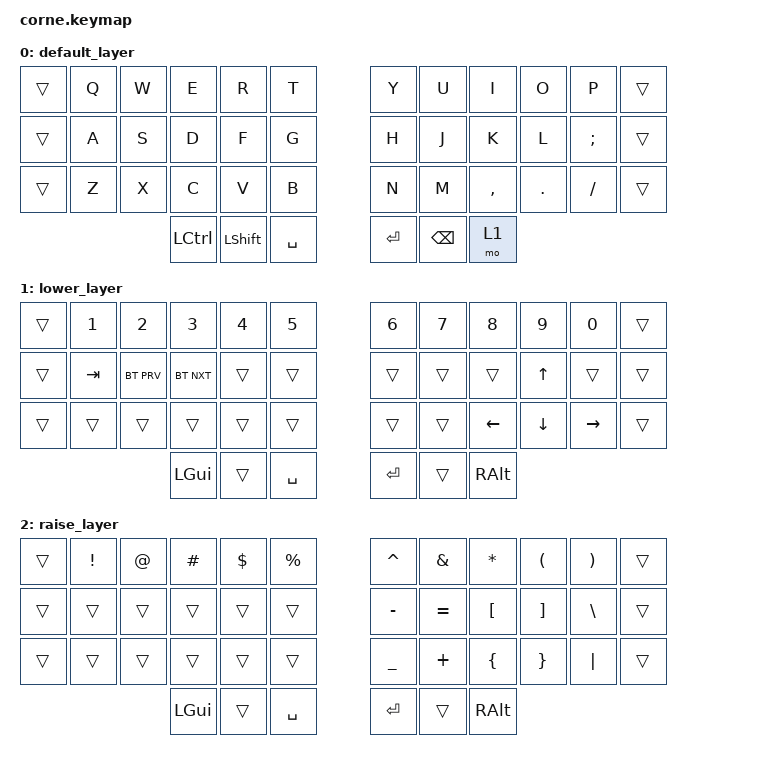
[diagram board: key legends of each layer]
/*
 * Copyright (c) 2020 The ZMK Contributors
 *
 * SPDX-License-Identifier: MIT
 */

#include <behaviors.dtsi>
#include <dt-bindings/zmk/keys.h>
#include <dt-bindings/zmk/bt.h>

/ {
        keymap {
                compatible = "zmk,keymap";

                default_layer {
// -----------------------------------------------------------------------------------------
// |      |  Q  |  W  |  E  |  R  |  T  |   |  Y  |  U   |  I  |  O  |  P  |      |
// |      |  A  |  S  |  D  |  F  |  G  |   |  H  |  J   |  K  |  L  |  ;  |      |
// |      |  Z  |  X  |  C  |  V  |  B  |   |  N  |  M   |  ,  |  .  |  /  |      |
//                    | CTRL | SHFT | SPC |   | ENT | BSPC | LWR |
                        bindings = <
   &trans &kp Q &kp W &kp E &kp R &kp T           &kp Y &kp U  &kp I     &kp O   &kp P    &trans
   &trans &kp A &kp S &kp D &kp F &kp G           &kp H &kp J  &kp K     &kp L   &kp SEMI &trans
   &trans &kp Z &kp X &kp C &kp V &kp B           &kp N &kp M  &kp COMMA &kp DOT &kp FSLH &trans
          &kp LCTRL &kp LSHFT &kp SPACE           &kp RET &kp BSPC &mo 1
                        >;
                };
                lower_layer {
// -----------------------------------------------------------------------------------------
// |      |  1  |  2  |  3  |  4  |  5  |   |  6  |  7  |  8  |  9  |  0  |      |
// |      | TAB | BTP | BTN |     |     |   |     |     |     | UP  |     |      |
// |      |     |     |     |     |     |   |     |     | LFT | DWN | RGT |      |
//                    | GUI |     | SPC |   | ENT |     | ALT |
                        bindings = <
            &trans &kp N1 &kp N2 &kp N3 &kp N4 &kp N5           &kp N6 &kp N7 &kp N8 &kp N9 &kp N0 &trans
   &trans &kp TAB &bt BT_PRV &bt BT_NXT &trans &trans           &trans &trans &trans &kp UP &trans &trans
            &trans &trans &trans &trans &trans &trans           &trans &trans &kp LEFT &kp DOWN &kp RIGHT &trans
                            &kp LGUI &trans &kp SPACE           &kp RET &trans &kp RALT
                        >;
                };

                raise_layer {
// -----------------------------------------------------------------------------------------
// |      |  !  |  @  |  #  |  $  |  %  |   |  ^  |  &  |  *  |  (  |  )  |      |
// |      |     |     |     |     |     |   |  -  |  =  |  [  |  ]  |  \  |      |
// |      |     |     |     |     |     |   |  _  |  +  |  {  |  }  | "|" |      |
//                    | GUI |     | SPC |   | ENT |     | ALT |
                        bindings = <
   &trans  &kp EXCL &kp AT &kp HASH &kp DLLR &kp PRCNT   &kp CARET &kp AMPS  &kp ASTRK &kp LPAR &kp RPAR &trans
   &trans &trans   &trans &trans   &trans   &trans      &kp MINUS &kp EQUAL &kp LBKT  &kp RBKT &kp BSLH &trans
   &trans &trans   &trans &trans   &trans   &trans      &kp UNDER &kp PLUS  &kp LBRC  &kp RBRC &kp PIPE &trans
                             &kp LGUI &trans   &kp SPACE   &kp RET   &trans    &kp RALT
                        >;
                };
        };
};
